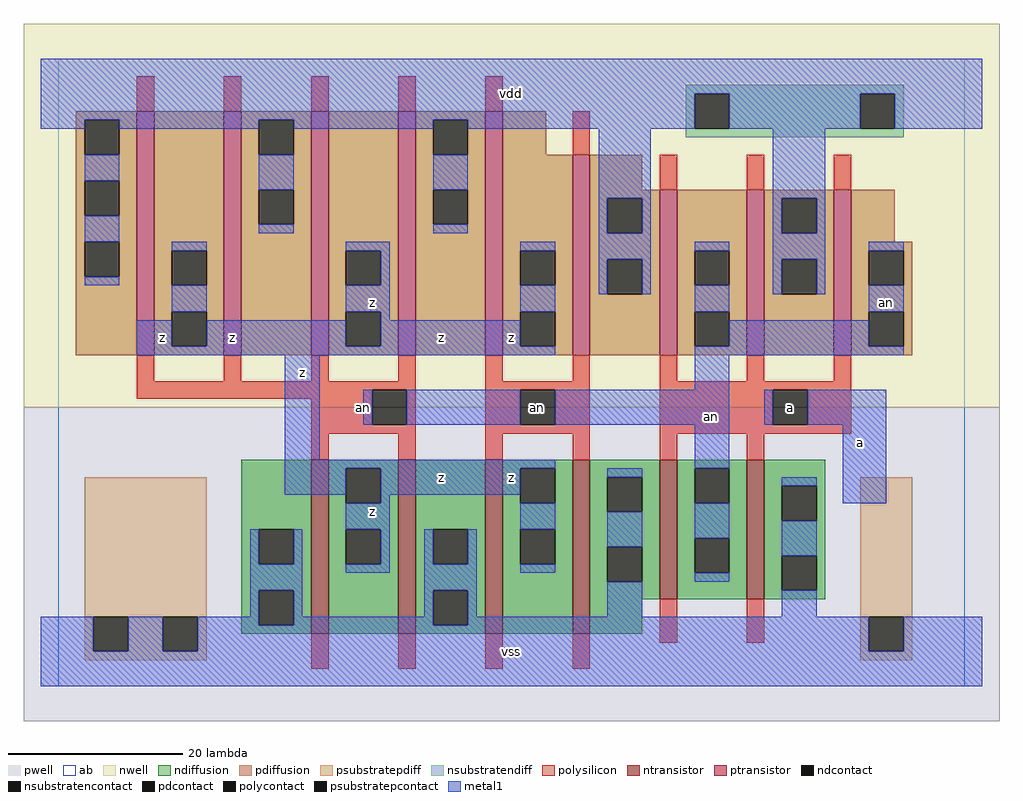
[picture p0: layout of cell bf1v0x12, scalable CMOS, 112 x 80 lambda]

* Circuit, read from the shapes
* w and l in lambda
.subckt bf1v0x12 a an vdd vss z
M1 z an vss vss nfet w=20 l=2 m=4
M2 an a vss vss nfet w=16 l=2 m=2
M3 z an vdd vdd pfet w=28 l=2 m=5
M4 vdd an z vdd pfet w=23 l=2
M5 an a vdd vdd pfet w=19 l=2 m=3
.ends

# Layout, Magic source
magic
tech scmos
<< ab >>
rect 0 0 104 72
<< pwell >>
rect -4 -4 108 32
<< nwell >>
rect -4 32 108 76
<< polysilicon >>
rect 9 66 11 70
rect 19 66 21 70
rect 29 66 31 70
rect 39 66 41 70
rect 49 66 51 70
rect 59 61 61 66
rect 69 57 71 61
rect 79 57 81 61
rect 89 57 91 61
rect 9 35 11 38
rect 19 35 21 38
rect 29 35 31 38
rect 39 35 41 38
rect 9 34 41 35
rect 9 33 36 34
rect 29 30 36 33
rect 40 30 41 34
rect 29 29 41 30
rect 29 26 31 29
rect 39 26 41 29
rect 49 35 51 38
rect 59 35 61 38
rect 49 34 61 35
rect 49 30 53 34
rect 57 30 61 34
rect 49 29 61 30
rect 49 26 51 29
rect 59 26 61 29
rect 69 35 71 38
rect 79 35 81 38
rect 89 35 91 38
rect 69 34 91 35
rect 69 30 82 34
rect 86 30 91 34
rect 69 29 91 30
rect 69 26 71 29
rect 79 26 81 29
rect 29 2 31 6
rect 39 2 41 6
rect 49 2 51 6
rect 59 2 61 6
rect 69 5 71 10
rect 79 5 81 10
<< ndiffusion >>
rect 21 18 29 26
rect 21 14 23 18
rect 27 14 29 18
rect 21 11 29 14
rect 21 7 23 11
rect 27 7 29 11
rect 21 6 29 7
rect 31 25 39 26
rect 31 21 33 25
rect 37 21 39 25
rect 31 18 39 21
rect 31 14 33 18
rect 37 14 39 18
rect 31 6 39 14
rect 41 18 49 26
rect 41 14 43 18
rect 47 14 49 18
rect 41 11 49 14
rect 41 7 43 11
rect 47 7 49 11
rect 41 6 49 7
rect 51 25 59 26
rect 51 21 53 25
rect 57 21 59 25
rect 51 18 59 21
rect 51 14 53 18
rect 57 14 59 18
rect 51 6 59 14
rect 61 24 69 26
rect 61 20 63 24
rect 67 20 69 24
rect 61 16 69 20
rect 61 12 63 16
rect 67 12 69 16
rect 61 10 69 12
rect 71 25 79 26
rect 71 21 73 25
rect 77 21 79 25
rect 71 17 79 21
rect 71 13 73 17
rect 77 13 79 17
rect 71 10 79 13
rect 81 23 88 26
rect 81 19 83 23
rect 87 19 88 23
rect 81 15 88 19
rect 81 11 83 15
rect 87 11 88 15
rect 81 10 88 11
rect 61 6 67 10
<< pdiffusion >>
rect 2 65 9 66
rect 2 61 3 65
rect 7 61 9 65
rect 2 58 9 61
rect 2 54 3 58
rect 7 54 9 58
rect 2 51 9 54
rect 2 47 3 51
rect 7 47 9 51
rect 2 38 9 47
rect 11 50 19 66
rect 11 46 13 50
rect 17 46 19 50
rect 11 43 19 46
rect 11 39 13 43
rect 17 39 19 43
rect 11 38 19 39
rect 21 65 29 66
rect 21 61 23 65
rect 27 61 29 65
rect 21 57 29 61
rect 21 53 23 57
rect 27 53 29 57
rect 21 38 29 53
rect 31 50 39 66
rect 31 46 33 50
rect 37 46 39 50
rect 31 43 39 46
rect 31 39 33 43
rect 37 39 39 43
rect 31 38 39 39
rect 41 65 49 66
rect 41 61 43 65
rect 47 61 49 65
rect 41 57 49 61
rect 41 53 43 57
rect 47 53 49 57
rect 41 38 49 53
rect 51 61 56 66
rect 51 50 59 61
rect 51 46 53 50
rect 57 46 59 50
rect 51 43 59 46
rect 51 39 53 43
rect 57 39 59 43
rect 51 38 59 39
rect 61 57 67 61
rect 61 56 69 57
rect 61 52 63 56
rect 67 52 69 56
rect 61 49 69 52
rect 61 45 63 49
rect 67 45 69 49
rect 61 38 69 45
rect 71 50 79 57
rect 71 46 73 50
rect 77 46 79 50
rect 71 43 79 46
rect 71 39 73 43
rect 77 39 79 43
rect 71 38 79 39
rect 81 56 89 57
rect 81 52 83 56
rect 87 52 89 56
rect 81 49 89 52
rect 81 45 83 49
rect 87 45 89 49
rect 81 38 89 45
rect 91 51 96 57
rect 91 50 98 51
rect 91 46 93 50
rect 97 46 98 50
rect 91 43 98 46
rect 91 39 93 43
rect 97 39 98 43
rect 91 38 98 39
<< metal1 >>
rect -2 68 106 72
rect -2 65 73 68
rect -2 64 3 65
rect 7 64 23 65
rect 3 58 7 61
rect 3 51 7 54
rect 27 64 43 65
rect 23 57 27 61
rect 23 52 27 53
rect 47 64 73 65
rect 77 64 92 68
rect 96 64 106 68
rect 43 57 47 61
rect 43 52 47 53
rect 62 56 68 64
rect 62 52 63 56
rect 67 52 68 56
rect 3 46 7 47
rect 13 50 17 51
rect 13 43 17 46
rect 9 39 13 42
rect 33 50 38 51
rect 37 46 38 50
rect 33 43 38 46
rect 17 39 33 42
rect 37 42 38 43
rect 53 50 57 51
rect 53 43 57 46
rect 62 49 68 52
rect 82 56 88 64
rect 82 52 83 56
rect 87 52 88 56
rect 62 45 63 49
rect 67 45 68 49
rect 73 50 77 51
rect 37 39 53 42
rect 9 38 57 39
rect 73 43 77 46
rect 82 49 88 52
rect 82 45 83 49
rect 87 45 88 49
rect 93 50 97 51
rect 93 43 97 46
rect 77 39 93 42
rect 73 38 97 39
rect 26 26 30 38
rect 73 34 77 38
rect 35 30 36 34
rect 40 30 53 34
rect 57 30 77 34
rect 81 30 82 34
rect 86 30 95 34
rect 26 25 57 26
rect 73 25 77 30
rect 26 22 33 25
rect 37 22 53 25
rect 37 21 38 22
rect 33 18 38 21
rect 53 18 57 21
rect 22 14 23 18
rect 27 14 28 18
rect 22 11 28 14
rect 37 14 38 18
rect 33 13 38 14
rect 42 14 43 18
rect 47 14 48 18
rect 22 8 23 11
rect -2 4 4 8
rect 8 4 12 8
rect 16 7 23 8
rect 27 8 28 11
rect 42 11 48 14
rect 53 13 57 14
rect 63 24 67 25
rect 63 16 67 20
rect 42 8 43 11
rect 27 7 43 8
rect 47 8 48 11
rect 73 17 77 21
rect 73 12 77 13
rect 83 23 87 24
rect 90 21 95 30
rect 83 15 87 19
rect 63 8 67 12
rect 83 8 87 11
rect 47 7 93 8
rect 16 4 93 7
rect 97 4 106 8
rect -2 0 106 4
<< ntransistor >>
rect 29 6 31 26
rect 39 6 41 26
rect 49 6 51 26
rect 59 6 61 26
rect 69 10 71 26
rect 79 10 81 26
<< ptransistor >>
rect 9 38 11 66
rect 19 38 21 66
rect 29 38 31 66
rect 39 38 41 66
rect 49 38 51 66
rect 59 38 61 61
rect 69 38 71 57
rect 79 38 81 57
rect 89 38 91 57
<< polycontact >>
rect 36 30 40 34
rect 53 30 57 34
rect 82 30 86 34
<< ndcontact >>
rect 23 14 27 18
rect 23 7 27 11
rect 33 21 37 25
rect 33 14 37 18
rect 43 14 47 18
rect 43 7 47 11
rect 53 21 57 25
rect 53 14 57 18
rect 63 20 67 24
rect 63 12 67 16
rect 73 21 77 25
rect 73 13 77 17
rect 83 19 87 23
rect 83 11 87 15
<< pdcontact >>
rect 3 61 7 65
rect 3 54 7 58
rect 3 47 7 51
rect 13 46 17 50
rect 13 39 17 43
rect 23 61 27 65
rect 23 53 27 57
rect 33 46 37 50
rect 33 39 37 43
rect 43 61 47 65
rect 43 53 47 57
rect 53 46 57 50
rect 53 39 57 43
rect 63 52 67 56
rect 63 45 67 49
rect 73 46 77 50
rect 73 39 77 43
rect 83 52 87 56
rect 83 45 87 49
rect 93 46 97 50
rect 93 39 97 43
<< psubstratepcontact >>
rect 4 4 8 8
rect 12 4 16 8
rect 93 4 97 8
<< nsubstratencontact >>
rect 73 64 77 68
rect 92 64 96 68
<< psubstratepdiff >>
rect 3 8 17 24
rect 3 4 4 8
rect 8 4 12 8
rect 16 4 17 8
rect 3 3 17 4
rect 92 8 98 24
rect 92 4 93 8
rect 97 4 98 8
rect 92 3 98 4
<< nsubstratendiff >>
rect 72 68 97 69
rect 72 64 73 68
rect 77 64 92 68
rect 96 64 97 68
rect 72 63 97 64
<< labels >>
rlabel polysilicon 35 32 35 32 6 an
rlabel polycontact 55 32 55 32 6 an
rlabel metal1 12 40 12 40 6 z
rlabel metal1 36 20 36 20 6 z
rlabel metal1 20 40 20 40 6 z
rlabel metal1 28 36 28 36 6 z
rlabel metal1 36 44 36 44 6 z
rlabel metal1 52 4 52 4 6 vss
rlabel metal1 44 24 44 24 6 z
rlabel metal1 52 24 52 24 6 z
rlabel metal1 44 40 44 40 6 z
rlabel metal1 52 40 52 40 6 z
rlabel metal1 52 68 52 68 6 vdd
rlabel polycontact 56 32 56 32 6 an
rlabel metal1 75 31 75 31 6 an
rlabel metal1 92 28 92 28 6 a
rlabel polycontact 84 32 84 32 6 a
rlabel metal1 95 44 95 44 6 an
<< end >>
